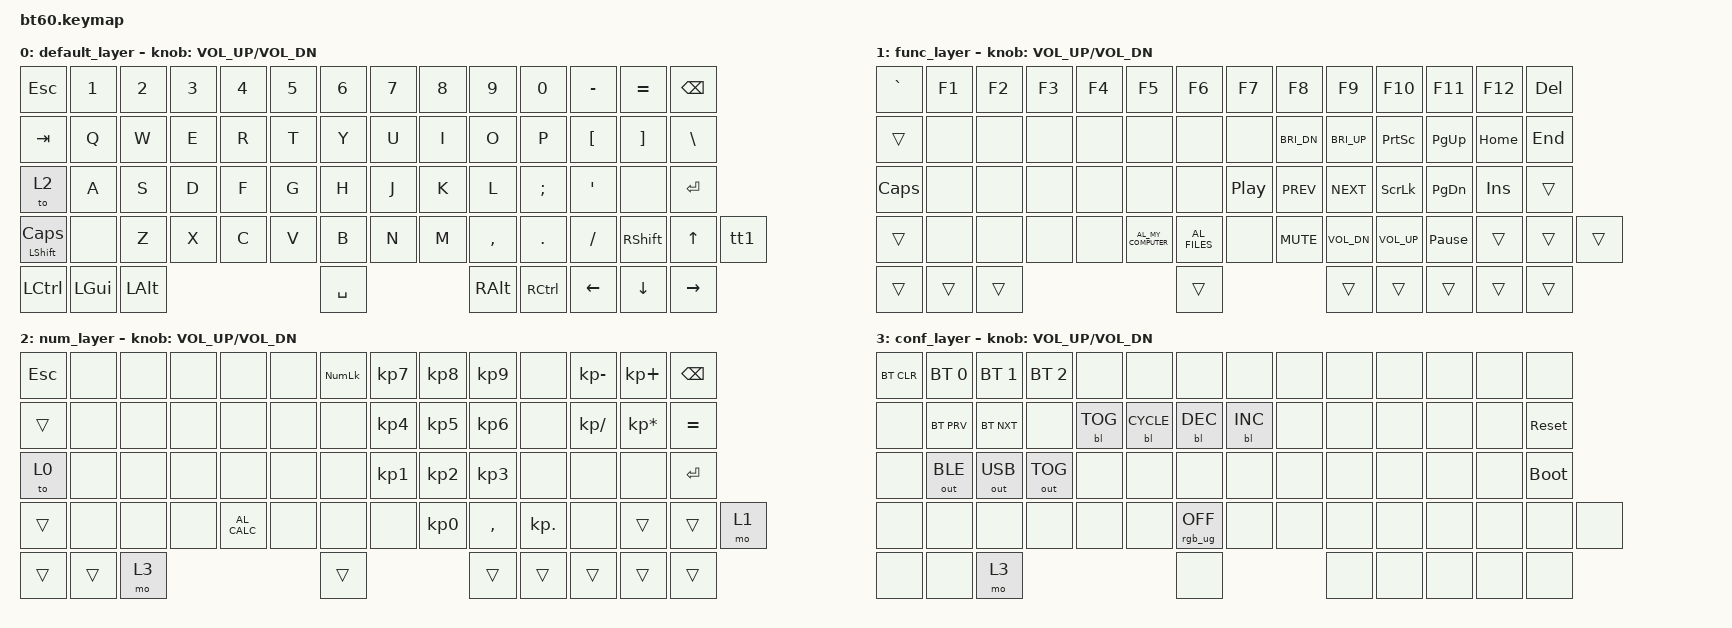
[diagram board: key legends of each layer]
#include <behaviors.dtsi>
#include <dt-bindings/zmk/keys.h>
#include <dt-bindings/zmk/bt.h>
#include <dt-bindings/zmk/outputs.h>
#include <dt-bindings/zmk/rgb.h>
#include <dt-bindings/zmk/backlight.h>
/ {
	behaviors {
        tt1: tap_dance_0 {
            compatible = "zmk,behavior-tap-dance";
            label = "TAP_DANCE_0";
            #binding-cells = <0>;
            tapping-term-ms = <200>;
            bindings = <&mo 1>, <&tog 1>;
        };
    };
	keymap {
		compatible = "zmk,keymap";
		default_layer {
			bindings = <
				&kp ESC &kp N1 &kp N2 &kp N3 &kp N4 &kp N5 &kp N6 &kp N7 &kp N8 &kp N9 &kp N0 &kp MINUS &kp EQUAL &kp BSPC
				&kp TAB   &kp Q &kp W &kp E &kp R &kp T &kp Y &kp U &kp I &kp O &kp P &kp LBKT &kp RBKT &kp BSLH
				&to 2     &kp A &kp S &kp D &kp F &kp G &kp H &kp J &kp K &kp L &kp SEMI &kp SQT &none  &kp ENTER
				&mt LSHIFT CAPS &none &kp Z &kp X &kp C &kp V &kp B &kp N &kp M &kp COMMA &kp DOT &kp FSLH &kp RSHFT &kp UP &tt1
				 &kp LCTRL   &kp LGUI   &kp LALT            &kp SPACE           &kp RALT &kp RCTRL &kp LEFT &kp DOWN &kp RIGHT
			>;
			sensor-bindings = <&inc_dec_kp C_VOL_UP C_VOL_DN>;
		};
		func_layer {
			bindings = <
				&kp GRAVE &kp F1 &kp F2 &kp F3 &kp F4 &kp F5 &kp F6 &kp F7 &kp F8 &kp F9 &kp F10 &kp F11 &kp F12 &kp DEL
				&trans &none &none &none &none &none &none &none &kp C_BRI_DN &kp C_BRI_UP &kp PSCRN &kp PAGE_UP &kp HOME &kp END
				&kp CAPS &none &none &none &none &none &none &kp C_PP &kp C_PREV &kp C_NEXT &kp SLCK &kp PAGE_DOWN &kp INSERT &trans
				&trans &none &none &none &none &kp C_AL_MY_COMPUTER &kp C_AL_FILES &none &kp C_MUTE &kp C_VOL_DN &kp C_VOL_UP &kp PAUSE_BREAK &trans &trans &trans
				&trans &trans &trans &trans &trans &trans &trans &trans &trans
			>;
			sensor-bindings = <&inc_dec_kp C_VOL_UP C_VOL_DN>;
		};
		num_layer {
			bindings = <
				&kp ESC &none &none &none &none &none &kp KP_NUM &kp KP_N7 &kp KP_N8 &kp KP_N9 &none &kp KP_MINUS &kp KP_PLUS &kp BSPC
				&trans &none &none &none &none &none &none &kp KP_N4 &kp KP_N5 &kp KP_N6 &none &kp KP_DIVIDE &kp KP_MULTIPLY &kp EQUAL
				&to 0 &none &none &none &none &none &none &kp KP_N1 &kp KP_N2 &kp KP_N3 &none &none &none &kp ENTER
				&trans &none &none &none &kp C_AL_CALC &none &none &none &kp KP_N0 &kp COMMA &kp KP_DOT &none &trans &trans &mo 1
				&trans &trans &mo 3 &trans &trans &trans &trans &trans &trans
			>;
			sensor-bindings = <&inc_dec_kp C_VOL_UP C_VOL_DN>;
		};
		conf_layer {
			bindings = <
				&bt BT_CLR &bt BT_SEL 0 &bt BT_SEL 1 &bt BT_SEL 2 &none &none &none &none &none &none &none &none &none &none
				&none &bt BT_PRV &bt BT_NXT &none &bl BL_TOG &bl BL_CYCLE &bl BL_DEC &bl BL_INC &none &none &none &none &none &sys_reset
				&none &out OUT_BLE &out OUT_USB &out OUT_TOG &none &none &none &none &none &none &none &none &none &bootloader
				&none &none &none &none &none &none &rgb_ug RGB_OFF &none &none &none &none &none &none &none &none
				&none &none &mo 3 &none &none &none &none &none &none
			>;
			sensor-bindings = <&inc_dec_kp C_VOL_UP C_VOL_DN>;
		};
	};
};
